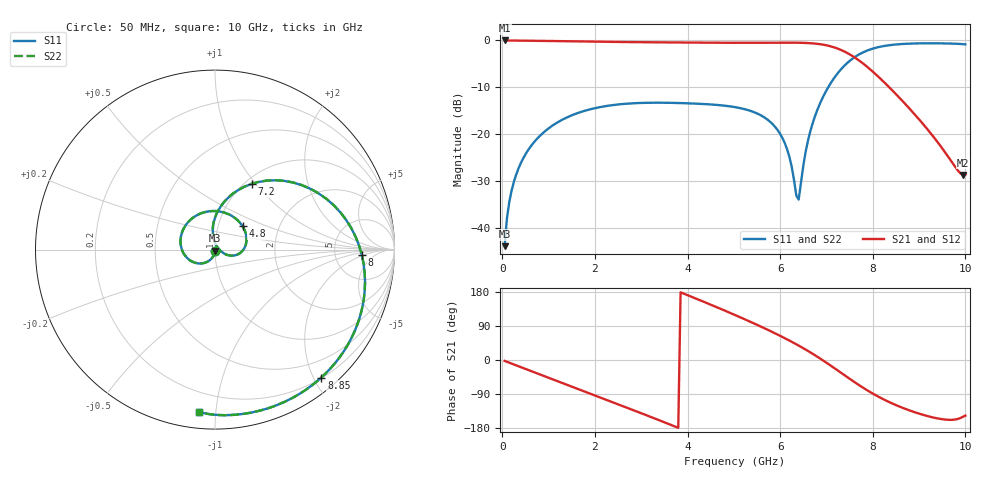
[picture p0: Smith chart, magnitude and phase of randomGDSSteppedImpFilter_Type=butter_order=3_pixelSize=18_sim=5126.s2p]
! freq	dB(S11)	phase(S11)	dB(S12)	phase(S12)
!  dB(S21)	phase(S21)	dB(S22)	phase(S22)
!S-par simulation data
#  GHz  S  DB  R 50
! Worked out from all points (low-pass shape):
!   200 points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, 50 MHz to 10 GHz, reference 50 ohm
!   highest |S21| = 0.00 dB at 50 MHz (marker M1); lowest = -28.7 dB at 9.95 GHz (marker M2)
!   |S21| within 3 dB of the highest: start of sweep to 7.509 GHz
!   lowest |S11| = -43.9 dB at 50 MHz (marker M3), VSWR 1.01, Z = 50 - j0.637 ohm
!   |S11| at or under -10 dB: start of sweep to 7.037 GHz
!   |S22| runs from -43.9 to -0.6 dB; largest |S21 - S12| = 0
!   S11 on the Smith chart (normalised r, x): 50 MHz: 1.00, -0.01; 4.8 GHz: 1.31, +0.35; 7.2 GHz: 1.07, +0.95; 8 GHz: 9.70, -1.63; 8.85 GHz: 0.21, -2.11; 10 GHz: 0.09, -0.90
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0.05  -43.91 -91.3  -0.00 -2.4  -0.00 -2.4  -43.91 -91.3
0.2  -32.08 -99.4  -0.02 -9.5  -0.02 -9.5  -32.08 -99.4
0.5  -24.31 -114.1  -0.05 -23.5  -0.05 -23.5  -24.31 -114.1
1.15  -17.74 -144.9  -0.14 -53.9  -0.14 -53.9  -17.74 -144.8
1.75  -15.10 -172.9  -0.23 -81.8  -0.23 -81.8  -15.10 -172.8
2.55  -13.61 149.7  -0.33 -119.1  -0.33 -119.1  -13.61 149.8
3.4  -13.29 109.2  -0.41 -159.5  -0.41 -159.5  -13.29 109.4
4.1  -13.45 75.1  -0.46 166.2  -0.46 166.2  -13.45 75.3
4.8  -13.92 40.2  -0.50 130.6  -0.50 130.6  -13.92 40.3
5.05  -14.27 27.5  -0.50 117.4  -0.50 117.4  -14.27 27.6
5.95  -19.20 -17.5  -0.48 66.8  -0.48 66.8  -19.20 -17.8
6.2  -24.86 -23.2  -0.47 51.2  -0.47 51.2  -24.89 -23.9
6.4  -33.96 50.6  -0.49 38.0  -0.49 38.0  -34.33 51.2
6.55  -23.80 96.8  -0.53 27.5  -0.53 27.5  -23.85 97.6
6.7  -17.73 94.8  -0.62 16.5  -0.62 16.5  -17.75 95.3
7.2  -7.55 60.9  -1.59 -23.9  -1.59 -23.9  -7.56 61.0
7.55  -3.99 32.3  -3.25 -53.7  -3.25 -53.7  -3.99 32.4
8  -1.75 -1.9  -6.66 -88.6  -6.66 -88.6  -1.75 -1.9
8.35  -1.03 -24.3  -9.94 -110.8  -9.94 -110.8  -1.03 -24.2
8.85  -0.66 -50.3  -15.17 -135.5  -15.17 -135.5  -0.66 -50.2
9.95  -0.79 -93.9  -28.73 -149.7  -28.73 -149.7  -0.79 -93.9
10  -0.83 -95.5  -28.58 -146.7  -28.58 -146.7  -0.83 -95.5
